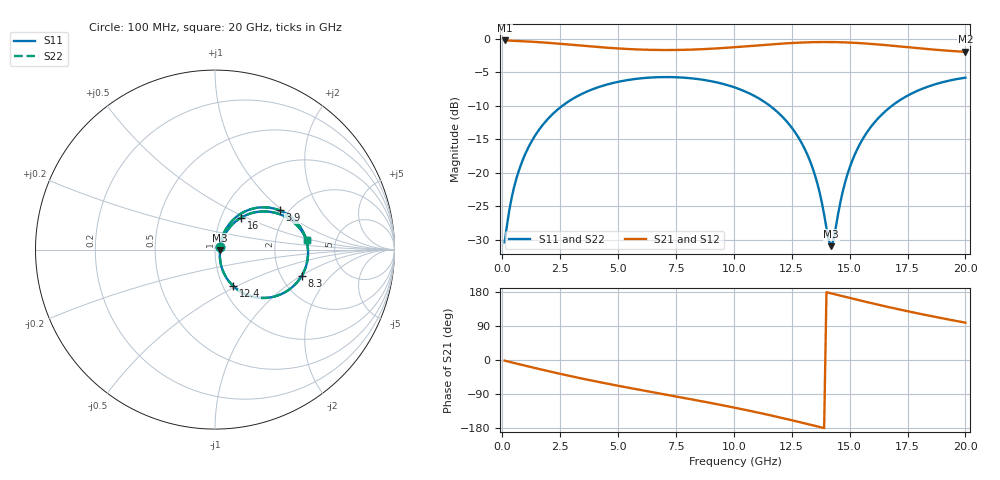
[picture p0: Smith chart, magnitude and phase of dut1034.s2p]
! Touchstone file exported from HFSS 2026.1.0
!  File:  C:/ffzhzh/LocalFiles/Ansys_Project_Files/temp_train_TSV_RDL_1034_1783294648_30076.aedt
!  Generated:  07:46:30 AM Jul  6, 2026
!  Design:  TSV_RDL
!  Project:  temp_train_TSV_RDL_1034_1783294648_30076
! Variables:
!  h_bsmrdl = 2.92um
!  h_ox = 20um
!  h_rdl = 5um
!  h_sub = 51.03um
!  h_tmrdl = 2.98um
!  h_tsv = 51.03um
!  h_via = 3um
!  l_bsmrdl = 784.65um
!  l_sub = 4501.66um
!  l_tmrdl = 404.16um
!  m_sub = 200um
!  pitch = 44.33um
!  r_tsv = 13.22um
!  s_tmrdl = 10um
!  w_bsmrdl = 14.85um
!  w_sub = 500um
!  w_tmrdl = 28.84um
!  x_tsv_center1 = 418.58um
!  x_tsv_center2 = 1218.08um
!  x_tsv_center3 = 1651.08um
!  x_tsv_center4 = 2450.58um
!  x_tsv_center5 = 2883.58um
!  x_tsv_center6 = 3683.08um
# GHz S MA R 50.000000
! Terminal data exported
! Port[1] = TM_RDL1_1_T1
! Port[2] = TM_RDL5_1_T1
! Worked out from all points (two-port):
!   200 points, 100 MHz to 20 GHz, reference 50 ohm
!   highest |S21| = -0.23 dB at 100 MHz (marker M1); lowest = -1.9 dB at 20 GHz (marker M2)
!   |S21| within 3 dB of the highest: start of sweep to end of sweep
!   lowest |S11| = -30.9 dB at 14.2 GHz (marker M3), VSWR 1.06, Z = 52.9 - j0.324 ohm
!   |S11| at or under -10 dB: start of sweep to 2.587 GHz; 11.56 GHz to 16.82 GHz (5.256 GHz wide, 37 % of centre)
!   |S22| runs from -30.9 to -5.7 dB; largest |S21 - S12| = 2.3e-14
!   S11 on the Smith chart (normalised r, x): 100 MHz: 1.05, +0.03; 3.9 GHz: 1.80, +0.96; 8.3 GHz: 2.59, -1.01; 12.4 GHz: 1.12, -0.48; 16 GHz: 1.24, +0.47; 20 GHz: 3.04, +0.45
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0.1  0.03037 28.4  0.9736 -1.6  0.9736 -1.6  0.03037 28.4
! Gamma 0 0 0 0
! Port Impedance 50 0 50 0
0.5  0.07718 59.5  0.9675 -7.8  0.9675 -7.8  0.07718 59.5
1.2  0.1639 60.7  0.9543 -18.1  0.9543 -18.1  0.1639 60.7
2.2  0.2776 51.1  0.9286 -32.4  0.9286 -32.4  0.2776 51.1
3.5  0.3934 35.9  0.8883 -49.7  0.8883 -49.7  0.3934 35.9
3.9  0.421 31.3  0.8764 -54.7  0.8764 -54.7  0.421 31.3
6.8  0.5184 -0.6  0.8263 -88.4  0.8263 -88.4  0.5184 -0.6
8.3  0.5052 -16.6  0.8332 -105.3  0.8332 -105.3  0.5052 -16.6
10.1  0.4306 -36.7  0.8687 -126.6  0.8687 -126.6  0.4306 -36.7
11.4  0.3316 -51.9  0.9044 -143.5  0.9044 -143.5  0.3317 -51.9
12.4  0.2292 -63.3  0.9295 -157.5  0.9295 -157.5  0.2292 -63.2
13.4  0.1091 -69.5  0.9452 -172.2  0.9452 -172.2  0.1091 -69.4
13.7  0.07206 -65.8  0.9472 -176.7  0.9472 -176.7  0.07215 -65.6
14.1  0.03135 -29.8  0.9475 177.3  0.9475 177.3  0.03152 -29.7
14.2  0.02842 -6.2  0.9472 175.8  0.9472 175.8  0.02859 -6.2
14.3  0.03141 17.4  0.9467 174.3  0.9467 174.3  0.03156 17.3
14.7  0.07221 53.2  0.9431 168.3  0.9431 168.3  0.07225 53.1
15  0.1093 57.0  0.9387 163.8  0.9387 163.8  0.1093 56.9
16  0.2298 50.8  0.9156 149.2  0.9156 149.2  0.2298 50.8
16.7  0.3045 43.1  0.8941 139.4  0.8941 139.4  0.3044 43.1
18.2  0.4286 25.8  0.845 119.8  0.845 119.8  0.4286 25.8
20  0.5136 6.0  0.8008 98.5  0.8008 98.5  0.5135 6.1
